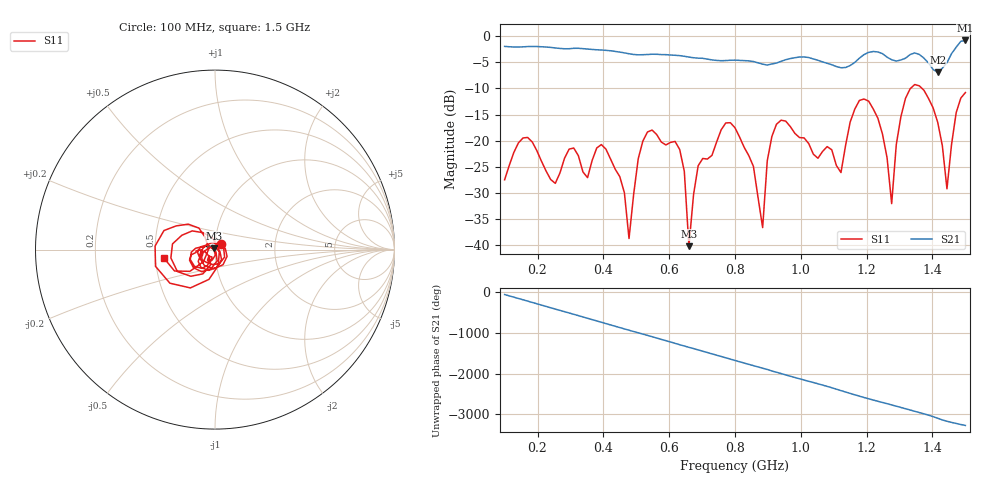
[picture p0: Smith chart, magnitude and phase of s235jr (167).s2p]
! NanoVNA-App
! Date: 2025-09-25 15:05:28
! Start: 100MHz Stop: 1,5GHz Points: 101
! S-Parameter data: F S11 S21 S12 S22
# Hz S RI R 50
!  Frequency  S11_Real  S11_Imag  S21_Real  S21_Imag  S12_Real  S12_Imag  S22_Real  S22_Imag
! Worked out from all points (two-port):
!   101 points, 100 MHz to 1.5 GHz, reference 50 ohm
!   highest |S21| = -0.83 dB at 1.5 GHz (marker M1); lowest = -6.9 dB at 1.416 GHz (marker M2)
!   |S21| within 3 dB of the highest: start of sweep to 642.7 MHz; 1.186 GHz to 1.258 GHz (71.97 MHz wide, 5.89 % of centre) (the widest 2 of 4)
!   lowest |S11| = -40.2 dB at 660 MHz (marker M3), VSWR 1.02, Z = 49.3 + j0.642 ohm
!   |S11| at or under -10 dB: start of sweep to 1.333 GHz; 1.368 GHz to end of sweep
!   S12 and S22 are empty: the file has one direction only
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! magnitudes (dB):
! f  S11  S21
! 100 MHz  -27.5  -2.0
! 170 MHz  -19.4  -2.0
! 338 MHz  -26.0  -2.4
! 408 MHz  -21.6  -2.7
! 478 MHz  -38.7  -3.4
! 520 MHz  -20.1  -3.6
! 576 MHz  -20.3  -3.5
! 632 MHz  -21.7  -3.7
! 660 MHz  -40.2  -4.0
! 688 MHz  -24.8  -4.2
! 800 MHz  -17.5  -4.6
! 884 MHz  -36.6  -5.4
! 898 MHz  -23.9  -5.5
! 926 MHz  -16.9  -5.2
! 1.038 GHz  -22.6  -4.4
! 1.122 GHz  -26.1  -6.0
! 1.206 GHz  -12.4  -3.1
! 1.276 GHz  -32.0  -4.5
! 1.332 GHz  -10.1  -3.5
! 1.416 GHz  -16.5  -6.9
! 1.444 GHz  -29.2  -5.1
! 1.5 GHz  -10.8  -0.8
